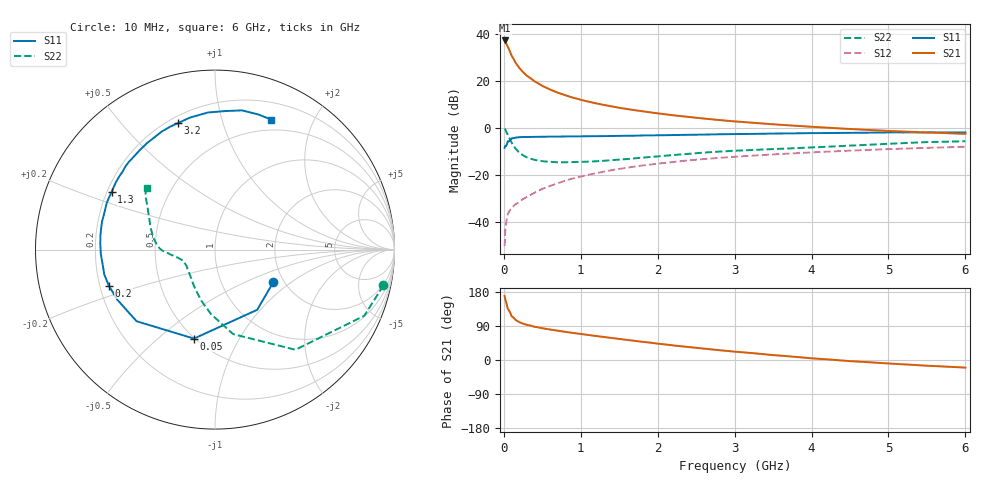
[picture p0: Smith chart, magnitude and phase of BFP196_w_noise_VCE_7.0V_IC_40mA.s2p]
! (c) 2017  Infineon Technologies AG, Munich
! Infineon Technologies  Discrete & RF Semiconductors
! BFP196
! VCE =  7.0 V,  IC =  40 mA
! Common Emitter S-Parameters:  Jan 2017
# GHz  S  MA  R  50
!  f  S11  S21  S12  S22
! GHz  MAG  ANG  MAG  ANG  MAG  ANG  MAG  ANG
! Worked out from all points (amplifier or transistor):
!   77 points, 10 MHz to 6 GHz, reference 50 ohm
!   highest |S21| = 37.1 dB at 10 MHz (marker M1)
!   |S21| within 3 dB of that: start of sweep to 55.69 MHz
!   unconditionally stable (mu >= 1): 606.7 MHz to 2.377 GHz
!   at 130 MHz: K = 0.55, MSG = 31.1 dB, |S12| = -33.3 dB
!   at 2.2 GHz: K = 1.01, MAG = 9.3 dB, |S12| = -14.6 dB
!   at 6 GHz: K = 0.94, MSG = 2.7 dB, |S12| = -8.1 dB
!   lowest NFmin = 1.34 dB at 450 MHz
!   S11 on the Smith chart (normalised r, x): 10 MHz: 1.77, -0.74; 50 MHz: 0.50, -0.66; 200 MHz: 0.24, -0.16; 1.3 GHz: 0.22, +0.25; 3.2 GHz: 0.24, +0.72; 6 GHz: 0.38, +1.45
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0.01  0.3722 -29.0  71.67 168.8  0.003 76.1  0.9595 -12.0
0.02  0.4096 -55.0  69.24 158.8  0.007 78.7  0.9098 -23.9
0.05  0.5095 -103.3  53.12 135.6  0.0144 59.2  0.7159 -51.2
0.1  0.5917 -137.6  34.3 115.8  0.0194 53.1  0.4813 -77.9
0.15  0.6118 -152.8  24.38 106.1  0.0233 50.9  0.3598 -93.6
0.2  0.625 -161.3  18.76 100.1  0.0261 53.7  0.2956 -104.8
0.25  0.6321 -167.3  15.16 95.8  0.0303 55.8  0.2571 -113.2
0.3  0.6311 -171.5  12.72 92.8  0.0335 58.2  0.2327 -120.5
0.4  0.6368 -177.9  9.652 87.7  0.0413 61.1  0.2055 -130.8
0.5  0.6399 177.0  7.737 83.8  0.0496 62.9  0.193 -138.7
0.6  0.6433 172.9  6.487 80.4  0.0574 63.8  0.1873 -144.7
0.7  0.6451 169.5  5.563 77.4  0.0653 64.6  0.1831 -149.2
0.9  0.6488 162.8  4.337 71.4  0.0832 63.8  0.185 -155.6
1.1  0.6565 156.9  3.576 66.0  0.0994 63.1  0.1891 -160.3
1.3  0.6591 150.9  3.038 60.7  0.1155 61.1  0.197 -163.8
1.6  0.6713 142.6  2.493 53.0  0.1403 58.0  0.2144 -168.2
2.1  0.6902 129.5  1.921 41.0  0.1783 51.8  0.2526 -174.2
3.1  0.7315 108.1  1.32 20.4  0.2455 39.0  0.3275 174.6
3.2  0.7345 106.2  1.282 18.7  0.2513 37.8  0.3327 173.1
4.1  0.7658 91.5  1.019 3.1  0.3022 27.0  0.3851 159.5
5.1  0.7893 77.7  0.837 -10.3  0.353 15.5  0.4606 145.6
6  0.7897 66.6  0.737 -20.1  0.3917 5.4  0.5125 138.1
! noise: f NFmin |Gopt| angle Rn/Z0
0.45  1.34  0.36  177  0.05
0.9  1.49  0.46  -167  0.07
1.9  2.31  0.68  -133  0.28
2.4  2.71  0.7  -120  0.62
